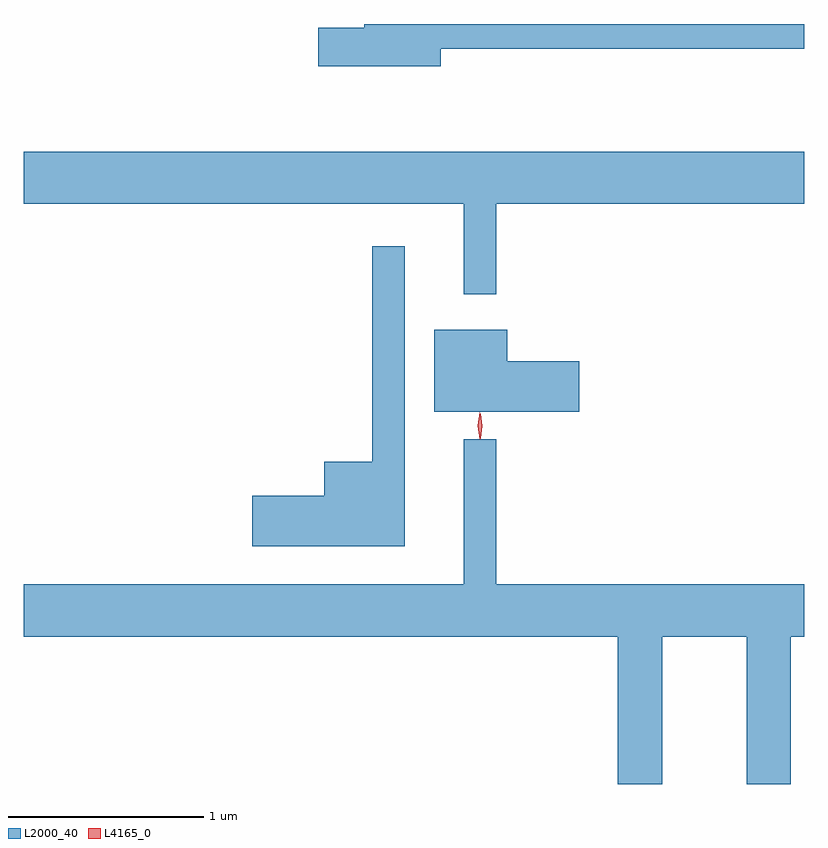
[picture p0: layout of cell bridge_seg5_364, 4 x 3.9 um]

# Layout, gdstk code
import gdstk
lib = gdstk.Library(unit=1e-6, precision=1e-09)
def P(c, l, *ps):  # polygons
    for p in ps: c.add(gdstk.Polygon(p, *l))
L2000_40 = (2000, 40)
L4165_0 = (4165, 0)

bridge_seg5_364 = lib.new_cell('bridge_seg5_364')
P(bridge_seg5_364, L2000_40, [(572.574,1464.251),(574.436,1464.251),(574.436,1464.378),(572.181,1464.378),(572.181,1464.359),(571.946,1464.359),(571.946,1464.161),(572.574,1464.161)],
  [(572.859,1463.456),(574.436,1463.456),(574.436,1463.724),(570.436,1463.724),(570.436,1463.456),(572.691,1463.456),(572.691,1462.993),(572.859,1462.993)],
  [(572.389,1463.238),(572.221,1463.238),(572.221,1462.134),(571.976,1462.134),(571.976,1461.959),(571.606,1461.959),(571.606,1461.701),(572.389,1461.701)],
  [(573.284,1462.649),(572.914,1462.649),(572.914,1462.809),(572.541,1462.809),(572.541,1462.391),(573.284,1462.391)],
  [(573.709,1461.236),(574.141,1461.236),(574.141,1460.481),(574.369,1460.481),(574.369,1461.236),(574.436,1461.236),(574.436,1461.504),(572.859,1461.504),(572.859,1462.248),(572.691,1462.248),(572.691,1461.504),(570.436,1461.504),(570.436,1461.236),(573.481,1461.236),(573.481,1460.481),(573.709,1460.481)])
P(bridge_seg5_364, L4165_0, [(572.774,1462.25),(572.764,1462.318),(572.773,1462.386),(572.774,1462.386),(572.774,1462.386),(572.784,1462.318),(572.775,1462.25),(572.775,1462.25)],
  [(572.776,1462.253),(572.767,1462.316),(572.776,1462.379),(572.777,1462.38),(572.778,1462.379),(572.787,1462.316),(572.778,1462.253),(572.777,1462.253)])

lib.write_gds('bridge_seg5_364.gds')
